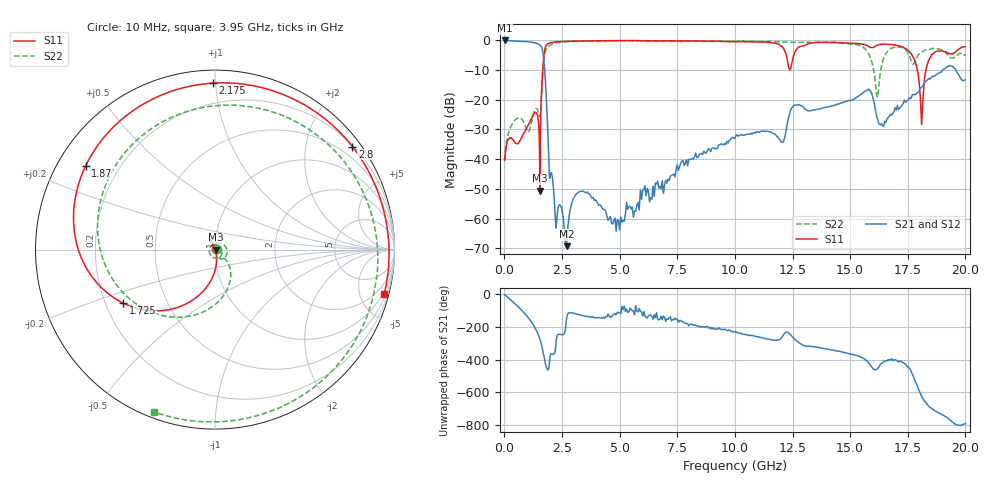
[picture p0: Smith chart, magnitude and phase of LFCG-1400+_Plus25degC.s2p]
! Mini-Circuits
! S2P DATA File Format
! Type: LOW PASS FILTER
! Model: LFCG-1400+
! All S Parameters are in dB deg format
! TEST CONDITIONS: INPUT POWER = 0 dBm @ Temperature = +25deg C
# MHz S dB R 50
!Frequency  S11 dB  S11 DEG  S21 dB  S21 DEG  S12 dB  S12 DEG  S22 dB  S22 DEG
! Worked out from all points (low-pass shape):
!   696 points, 10 MHz to 20 GHz, reference 50 ohm
!   highest |S21| = -0.11 dB at 10 MHz (marker M1); lowest = -69.3 dB at 2.7 GHz (marker M2)
!   |S21| within 3 dB of the highest: start of sweep to 1.646 GHz
!   lowest |S11| = -50.6 dB at 1.54 GHz (marker M3), VSWR 1.01, Z = 50.3 + j0.00254 ohm
!   |S11| at or under -10 dB: start of sweep to 1.664 GHz; 17.91 GHz to 18.29 GHz (381 MHz wide, 2.1 % of centre)
!   |S22| runs from -39.7 to -0.2 dB; largest |S21 - S12| = 0.00056
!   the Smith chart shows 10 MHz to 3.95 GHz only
!   S11 on the Smith chart (normalised r, x): 10 MHz: 1.02, +0.01; 1.725 GHz: 0.27, -0.25; 1.87 GHz: 0.08, +0.29; 2.175 GHz: 0.07, +0.99; 2.8 GHz: 0.22, +2.99; 3.95 GHz: 0.77, -7.67
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10  -40.44 33.0  -0.11 -1.4  -0.11 -1.4  -39.65 26.6
780  -32.20 88.5  -0.42 -101.9  -0.42 -101.9  -26.81 -103.4
1230  -25.49 121.4  -0.77 178.0  -0.78 178.0  -25.66 36.6
1455  -26.08 113.4  -1.25 117.5  -1.25 117.5  -23.61 -51.5
1540  -50.62 0.5  -1.63 85.5  -1.63 85.5  -25.56 -55.4
1605  -19.10 -89.2  -2.26 53.8  -2.26 53.8  -18.89 -47.3
1725  -4.54 -149.8  -7.64 -28.8  -7.64 -28.8  -5.96 -137.2
1870  -1.32 147.0  -27.91 -100.6  -27.91 -100.6  -2.40 119.3
1955  -0.99 125.9  -46.07 -55.2  -46.08 -55.2  -1.81 82.0
2175  -0.65 90.6  -55.00 -1.4  -54.96 -1.3  -1.06 20.8
2700  -0.40 43.4  -69.30 -145.3  -69.11 -145.0  -0.52 -49.4
2800  -0.38 36.8  -59.62 -113.1  -59.65 -113.7  -0.48 -57.6
3350  -0.29 8.0  -50.90 -129.3  -50.94 -129.2  -0.35 -89.8
3950  -0.22 -14.7  -53.73 -144.7  -53.69 -145.1  -0.30 -110.5
5000  -0.14 -40.9  -63.81 -114.5  -63.90 -114.3  -0.18 -131.1
6700  -0.25 -64.3  -49.77 -156.8  -49.71 -156.9  -0.32 -154.3
10050  -0.52 -102.6  -31.97 128.4  -31.97 128.4  -0.32 153.1
13350  -0.93 -148.6  -23.56 40.3  -23.56 40.3  -0.74 62.9
16000  -2.46 131.7  -19.66 -96.6  -19.66 -96.5  -9.20 -32.2
16700  -1.41 114.7  -25.57 -45.4  -25.58 -45.3  -3.27 89.7
18100  -28.36 -42.6  -15.87 96.5  -15.87 96.5  -4.03 84.2
20000  -2.12 135.2  -13.34 -72.7  -13.34 -72.6  -5.27 63.9
